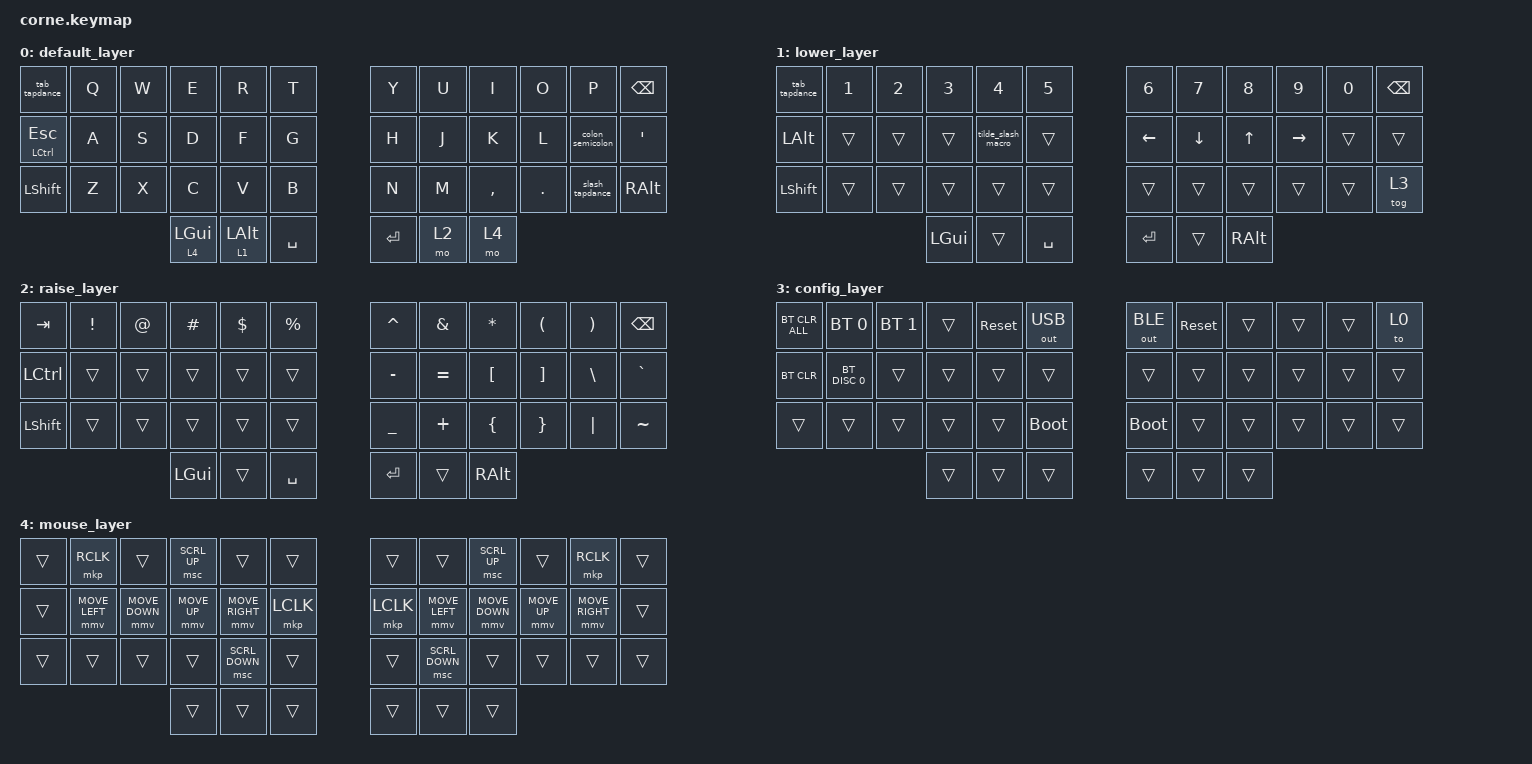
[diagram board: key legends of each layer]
/*
 * Copyright (c) 2020 The ZMK Contributors
 *
 * SPDX-License-Identifier: MIT
 */

#define ZMK_POINTING_DEFAULT_MOVE_VAL 1200

#include <behaviors.dtsi>
#include <dt-bindings/zmk/bt.h>
#include <dt-bindings/zmk/keys.h>
#include <dt-bindings/zmk/outputs.h>
#include <dt-bindings/zmk/pointing.h>

/ {
    behaviors {
        colon_semicolon: colon_semicolon {
            compatible = "zmk,behavior-mod-morph";
            #binding-cells = <0>;
            bindings = <&kp COLON>, <&kp SEMI>;

            mods = <(MOD_LSFT | MOD_RSFT)>;
        };

        slash_tapdance: slash_tapdance {
            compatible = "zmk,behavior-tap-dance";
            label = "SLASH_TAPDANCE";
            #binding-cells = <0>;
            tapping-term-ms = <300>;
            bindings = <&kp FSLH>, <&kp QMARK>, <&kp BSLH>;
        };

        tab_tapdance: tab_tapdance {
            compatible = "zmk,behavior-tap-dance";
            label = "TAB_TAPDANCE";
            #binding-cells = <0>;
            tapping-term-ms = <300>;
            bindings = <&kp TAB>, <&kp LS(TAB)>;
        };
    };

    tilde_slash_macro: tilde_slash_macro {
        compatible = "zmk,behavior-macro";
        label = "TILDE_SLASH";
        #binding-cells = <0>;
        bindings = <&kp TILDE &kp FSLH>;
    };
};

/ {
    macros {
    };

    keymap {
        compatible = "zmk,keymap";

        default_layer {
            // -----------------------------------------------------------------------------------------
            // |  TAB |  Q  |  W  |  E  |  R  |  T  |   |  Y  |  U   |  I  |  O  |  P  | BKSP |
            // | CTRL |  A  |  S  |  D  |  F  |  G  |   |  H  |  J   |  K  |  L  |  :  |  '   |
            // | SHFT |  Z  |  X  |  C  |  V  |  B  |   |  N  |  M   |  ,  |  .  |  /  | ESC  |
            //                    | GUI | LWR | SPC |   | ENT | RSE  | ALT |

            bindings = <
&tab_tapdance     &kp Q  &kp W  &kp E           &kp R           &kp T        &kp Y    &kp U  &kp I      &kp O    &kp P             &kp BSPC
&mt LCTRL ESCAPE  &kp A  &kp S  &kp D           &kp F           &kp G        &kp H    &kp J  &kp K      &kp L    &colon_semicolon  &kp SQT
&kp LSHFT         &kp Z  &kp X  &kp C           &kp V           &kp B        &kp N    &kp M  &kp COMMA  &kp DOT  &slash_tapdance   &kp RIGHT_ALT
                                &lt 4 LEFT_GUI  &lt 1 LEFT_ALT  &kp SPACE    &kp RET  &mo 2  &mo 4
            >;
        };

        lower_layer {
            bindings = <
&tab_tapdance  &kp N1  &kp N2  &kp N3    &kp N4              &kp N5       &kp N6    &kp N7    &kp N8    &kp N9     &kp N0  &kp BSPC
&kp LEFT_ALT   &trans  &trans  &trans    &tilde_slash_macro  &trans       &kp LEFT  &kp DOWN  &kp UP    &kp RIGHT  &trans  &trans
&kp LSHFT      &trans  &trans  &trans    &trans              &trans       &trans    &trans    &trans    &trans     &trans  &tog 3
                               &kp LGUI  &trans              &kp SPACE    &kp RET   &trans    &kp RALT
            >;
        };

        raise_layer {
            bindings = <
&kp TAB    &kp EXCL  &kp AT  &kp HASH  &kp DLLR  &kp PRCNT    &kp CARET  &kp AMPS   &kp ASTRK  &kp LPAR  &kp RPAR  &kp BSPC
&kp LCTRL  &trans    &trans  &trans    &trans    &trans       &kp MINUS  &kp EQUAL  &kp LBKT   &kp RBKT  &kp BSLH  &kp GRAVE
&kp LSHFT  &trans    &trans  &trans    &trans    &trans       &kp UNDER  &kp PLUS   &kp LBRC   &kp RBRC  &kp PIPE  &kp TILDE
                             &kp LGUI  &trans    &kp SPACE    &kp RET    &trans     &kp RALT
            >;
        };

        config_layer {
            bindings = <
&bt BT_CLR_ALL  &bt BT_SEL 0   &bt BT_SEL 1  &trans  &sys_reset  &out OUT_USB    &out OUT_BLE  &sys_reset  &trans  &trans  &trans  &to 0
&bt BT_CLR      &bt BT_DISC 0  &trans        &trans  &trans      &trans          &trans        &trans      &trans  &trans  &trans  &trans
&trans          &trans         &trans        &trans  &trans      &bootloader     &bootloader   &trans      &trans  &trans  &trans  &trans
                                             &trans  &trans      &trans          &trans        &trans      &trans
            >;
        };

        mouse_layer {
            bindings = <
&trans  &mkp RCLK       &trans          &msc SCRL_UP  &trans           &trans       &trans     &trans          &msc SCRL_UP    &trans        &mkp RCLK        &trans
&trans  &mmv MOVE_LEFT  &mmv MOVE_DOWN  &mmv MOVE_UP  &mmv MOVE_RIGHT  &mkp LCLK    &mkp LCLK  &mmv MOVE_LEFT  &mmv MOVE_DOWN  &mmv MOVE_UP  &mmv MOVE_RIGHT  &trans
&trans  &trans          &trans          &trans        &msc SCRL_DOWN   &trans       &trans     &msc SCRL_DOWN  &trans          &trans        &trans           &trans
                                        &trans        &trans           &trans       &trans     &trans          &trans
            >;
        };
    };
};
